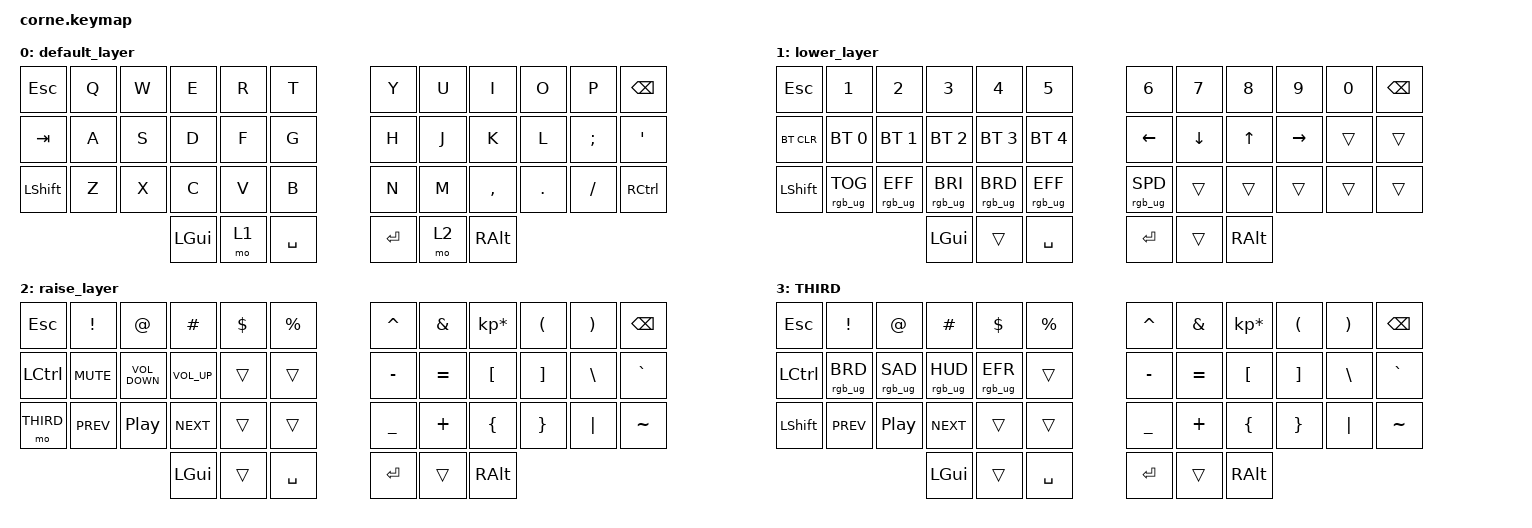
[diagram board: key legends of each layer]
/*
 * Copyright (c) 2020 The ZMK Contributors
 *
 * SPDX-License-Identifier: MIT
 */

#include <behaviors.dtsi>
#include <dt-bindings/zmk/keys.h>
#include <dt-bindings/zmk/bt.h>
#include <dt-bindings/zmk/rgb.h>
#include <dt-bindings/zmk/outputs.h>
#include <dt-bindings/led/led.h>
#include <../boards/shields/corne/boards/nice_nano.overlay>

// Overwrite number of leds on the keyboard. A Corne has 27 per side.
&led_strip { chain-length = <27>; };

// Overwrite the display cs pin
// This have to be comment out for the right side.
&nice_view_spi {
  cs-gpios = <&pro_micro 0 GPIO_ACTIVE_HIGH>;
};

#define THIRD 3

/ {
        keymap {
                compatible = "zmk,keymap";

                default_layer {
// -----------------------------------------------------------------------------------------
// | ESC |  Q  |  W  |  E  |  R  |  T  |   |  Y  |  U   |  I  |  O  |  P  | BKSP |
// | TAB |  A  |  S  |  D  |  F  |  G  |   |  H  |  J   |  K  |  L  |  ;  |  '   |
// | SHFT |  Z  |  X  |  C  |  V  |  B  |   |  N  |  M   |  ,  |  .  |  /  | CTRL  |
//                    | GUI | LWR | SPC |   | ENT | RSE  | ALT |
                        bindings = <
   &kp ESC   &kp Q &kp W &kp E &kp R &kp T   &kp Y &kp U  &kp I     &kp O   &kp P    &kp BSPC
   &kp TAB &kp A &kp S &kp D &kp F &kp G   &kp H &kp J  &kp K     &kp L   &kp SEMI &kp SQT
   &kp LSHFT &kp Z &kp X &kp C &kp V &kp B   &kp N &kp M  &kp COMMA &kp DOT &kp FSLH &kp RCTRL
                  &kp LGUI &mo 1 &kp SPACE   &kp RET &mo 2 &kp RALT
                        >;
                };
                lower_layer {
// -----------------------------------------------------------------------------------------
// |  ESC |  1  |  2  |  3  |  4  |  5  |   |  6  |  7  |  8  |  9  |  0  | BKSP |
// | BTCLR| BT1 | BT2 | BT3 | BT4 | BT5 |   | LFT | DWN |  UP | RGT |     |      |
// | SHFT |     |     |     |     |     |   |     |     |     |     |     |      |
//                    | GUI |     | SPC |   | ENT |     | ALT |
                        bindings = <
   &kp ESC    &kp N1            &kp N2                  &kp N3                  &kp N4                  &kp N5          &kp N6                  &kp N7          &kp N8 &kp N9    &kp N0 &kp BSPC
   &bt BT_CLR &bt BT_SEL 0      &bt BT_SEL 1            &bt BT_SEL 2            &bt BT_SEL 3            &bt BT_SEL 4    &kp LEFT                &kp DOWN        &kp UP &kp RIGHT &trans &trans
   &kp LSHFT  &rgb_ug RGB_TOG   &rgb_ug RGB_EFF         &rgb_ug RGB_BRI         &rgb_ug RGB_BRD         &rgb_ug RGB_EFF &rgb_ug RGB_SPD         &trans          &trans &trans    &trans &trans
                          	        &kp LGUI     &trans       &kp SPACE      &kp RET  &trans   &kp RALT
                        >;
                };

                raise_layer {
// -----------------------------------------------------------------------------------------
// |  ESC |  !  |  @  |  #  |  $  |  %  |   |  ^  |  &  |  *  |  (  |  )  | BKSP |
// | CTRL |mute |vol u|vol d|pause|     |   |  -  |  =  |  [  |  ]  |  \  |  `   |
// | SHFT |ledon|     |     |     |     |   |  _  |  +  |  {  |  }  | "|" |  ~   |
//                    | GUI |     | SPC |   | ENT |     | ALT |
                        bindings = <
   &kp  ESC  &kp EXCL &kp AT &kp HASH &kp DLLR &kp PRCNT   &kp CARET &kp AMPS  &kp KP_MULTIPLY &kp LPAR &kp RPAR &kp BSPC
   &kp LCTRL &kp C_MUTE   &kp C_VOLUME_DOWN &kp C_VOLUME_UP   &trans   &trans      &kp MINUS &kp EQUAL &kp LBKT        &kp RBKT &kp BSLH &kp GRAVE
   &mo THIRD  &kp C_PREV   &kp C_PP &kp C_NEXT  &trans   &trans      &kp UNDER &kp PLUS  &kp LBRC        &kp RBRC &kp PIPE &kp TILDE
                    	     &kp LGUI &trans   &kp SPACE   &kp RET   &trans    &kp RALT
                        >;
                };

                THIRD {
// -----------------------------------------------------------------------------------------
// |  ESC |  !  |  @  |  #  |  $  |  %  |   |  ^  |  &  |  *  |  (  |  )  | BKSP |
// | CTRL |mute |vol u|vol d|pause|     |   |  -  |  =  |  [  |  ]  |  \  |  `   |
// | SHFT |ledon|     |     |     |     |   |  _  |  +  |  {  |  }  | "|" |  ~   |
//                    | GUI |     | SPC |   | ENT |     | ALT |
                        bindings = <
   &kp  ESC  &kp EXCL &kp AT &kp HASH &kp DLLR &kp PRCNT   &kp CARET &kp AMPS  &kp KP_MULTIPLY &kp LPAR &kp RPAR &kp BSPC
   &kp LCTRL &rgb_ug RGB_BRD &rgb_ug RGB_SAD &rgb_ug RGB_HUD &rgb_ug RGB_EFR &trans      &kp MINUS &kp EQUAL &kp LBKT        &kp RBKT &kp BSLH &kp GRAVE
   &kp LSHFT &kp C_PREV   &kp C_PP &kp C_NEXT  &trans   &trans      &kp UNDER &kp PLUS  &kp LBRC        &kp RBRC &kp PIPE &kp TILDE
                    	     &kp LGUI &trans   &kp SPACE   &kp RET   &trans    &kp RALT
                        >;
                };
        };      
};
